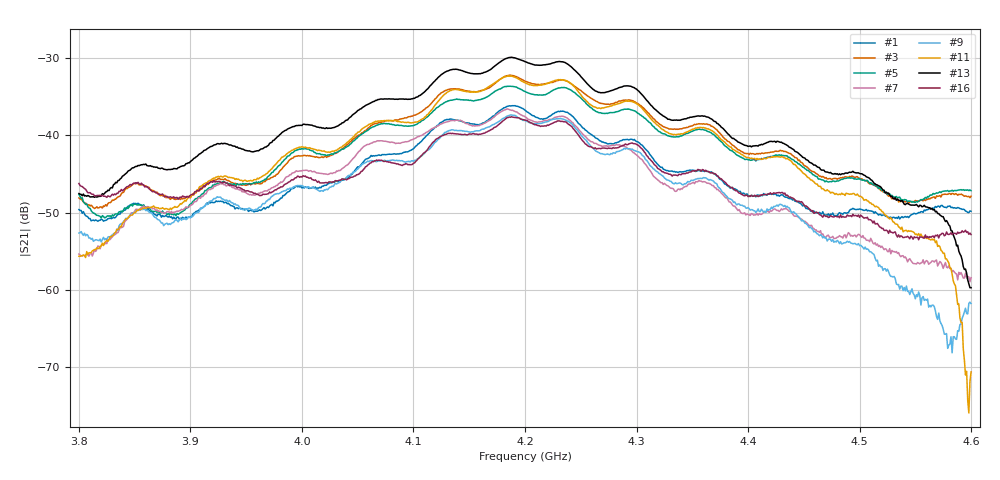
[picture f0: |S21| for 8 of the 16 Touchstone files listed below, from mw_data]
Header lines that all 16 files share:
!Created with skrf (http://scikit-rf.org).
# Hz S RI R 50.0
!freq ReS11 ImS11 ReS21 ImS21 ReS12 ImS12 ReS22 ImS22
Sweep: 3.8 GHz to 4.6 GHz
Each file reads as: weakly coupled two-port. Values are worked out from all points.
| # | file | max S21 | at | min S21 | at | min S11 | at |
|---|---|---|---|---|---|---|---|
| 1 | 2023-12-06-10_03-MW_measurement_0.s2p | -36.15 dB | 4.191 GHz | -51.1 dB | 3.817 GHz | -45.3 dB | 4.011 GHz |
| 2 | 2023-12-06-10_04-MW_measurement_1.s2p | -34.09 dB | 4.187 GHz | -52.6 dB | 3.811 GHz | -48.1 dB | 3.939 GHz |
| 3 | 2023-12-06-10_04-MW_measurement_2.s2p | -32.21 dB | 4.187 GHz | -49.5 dB | 3.814 GHz | -43.3 dB | 3.94 GHz |
| 4 | 2023-12-06-10_04-MW_measurement_3.s2p | -32.49 dB | 4.186 GHz | -49.2 dB | 3.887 GHz | -35.6 dB | 4.438 GHz |
| 5 | 2023-12-06-10_04-MW_measurement_4.s2p | -33.64 dB | 4.186 GHz | -50.7 dB | 3.82 GHz | -38.5 dB | 4.438 GHz |
| 6 | 2023-12-06-10_04-MW_measurement_5.s2p | -35.05 dB | 4.186 GHz | -53.1 dB | 3.82 GHz | -48.9 dB | 4.438 GHz |
| 7 | 2023-12-06-10_05-MW_measurement_6.s2p | -36.57 dB | 4.184 GHz | -59.0 dB | 4.599 GHz | -40.3 dB | 4.438 GHz |
| 8 | 2023-12-06-10_05-MW_measurement_7.s2p | -36.27 dB | 4.186 GHz | -64.1 dB | 4.6 GHz | -43.7 dB | 4.438 GHz |
| 9 | 2023-12-06-10_05-MW_measurement_8.s2p | -37.36 dB | 4.187 GHz | -68.2 dB | 4.583 GHz | -39.4 dB | 4.51 GHz |
| 10 | 2023-12-06-10_05-MW_measurement_9.s2p | -34.28 dB | 4.187 GHz | -65.6 dB | 4.589 GHz | -36.3 dB | 3.939 GHz |
| 11 | 2023-12-06-10_05-MW_measurement_10.s2p | -32.33 dB | 4.187 GHz | -75.9 dB | 4.598 GHz | -40.7 dB | 4.438 GHz |
| 12 | 2023-12-06-10_05-MW_measurement_11.s2p | -30.67 dB | 4.189 GHz | -65.1 dB | 4.6 GHz | -48.3 dB | 4.438 GHz |
| 13 | 2023-12-06-10_06-MW_measurement_12.s2p | -29.89 dB | 4.188 GHz | -59.7 dB | 4.6 GHz | -55.0 dB | 4.437 GHz |
| 14 | 2023-12-06-10_06-MW_measurement_13.s2p | -32.01 dB | 4.186 GHz | -54.7 dB | 4.6 GHz | -46.0 dB | 3.938 GHz |
| 15 | 2023-12-06-10_06-MW_measurement_14.s2p | -35.33 dB | 4.233 GHz | -54.1 dB | 4.566 GHz | -41.6 dB | 4.368 GHz |
| 16 | 2023-12-06-10_06-MW_measurement_15.s2p | -37.59 dB | 4.188 GHz | -53.5 dB | 4.553 GHz | -52.4 dB | 4.009 GHz |
